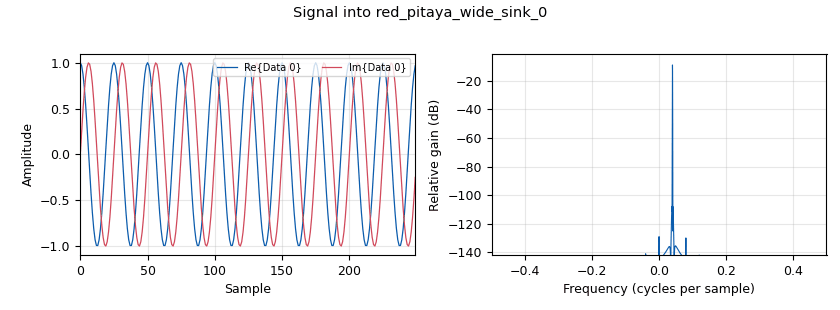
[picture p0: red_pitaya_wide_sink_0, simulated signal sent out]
<?xml version='1.0' encoding='utf-8'?>
<?grc format='1' created='3.7.11'?>
<flow_graph>
<block>
<key>options</key>
<param><key>id</key><value>top_block</value></param>
<param><key>generate_options</key><value>qt_gui</value></param>
</block>
<block>
<key>variable</key>
<param><key>id</key><value>fc</value></param>
<param><key>value</key><value>2e5</value></param>
</block>
<block>
<key>variable_qtgui_range</key>
<param><key>id</key><value>fm</value></param>
<param><key>value</key><value>1e4</value></param>
<param><key>orient</key><value>Qt.Horizontal</value></param>
<param><key>start</key><value>9e3</value></param>
<param><key>step</key><value>50</value></param>
<param><key>stop</key><value>1.1e4</value></param>
</block>
<block>
<key>variable</key>
<param><key>id</key><value>samp_rate</value></param>
<param><key>value</key><value>2.5e5</value></param>
</block>
<block>
<key>parameter</key>
<param><key>id</key><value>address0</value></param>
<param><key>label</key><value>IP Address, Dev 0</value></param>
<param><key>type</key><value>string</value></param>
<param><key>value</key><value>"192.168.88.18"</value></param>
</block>
<block>
<key>parameter</key>
<param><key>id</key><value>address1</value></param>
<param><key>label</key><value>IP Address, Dev 0</value></param>
<param><key>type</key><value>string</value></param>
<param><key>value</key><value>"192.168.88.17"</value></param>
</block>
<block>
<key>analog_sig_source_x</key>
<param><key>id</key><value>analog_sig_source_x_0</value></param>
<param><key>amp</key><value>1</value></param>
<param><key>freq</key><value>fm</value></param>
<param><key>offset</key><value>0</value></param>
<param><key>type</key><value>complex</value></param>
<param><key>samp_rate</key><value>samp_rate</value></param>
<param><key>waveform</key><value>analog.GR_COS_WAVE</value></param>
</block>
<block>
<key>blocks_throttle</key>
<param><key>id</key><value>blocks_throttle_0</value></param>
<param><key>samples_per_second</key><value>samp_rate</value></param>
<param><key>type</key><value>complex</value></param>
</block>
<block>
<key>blocks_throttle</key>
<param><key>id</key><value>blocks_throttle_0_0</value></param>
<param><key>samples_per_second</key><value>samp_rate</value></param>
<param><key>type</key><value>complex</value></param>
</block>
<block>
<key>qtgui_sink_x</key>
<param><key>id</key><value>qtgui_sink_x_0</value></param>
<param><key>bw</key><value>samp_rate</value></param>
<param><key>fc</key><value>0</value></param>
<param><key>freqchangevar</key><value>None</value></param>
<param><key>fftsize</key><value>1024</value></param>
<param><key>showports</key><value>True</value></param>
<param><key>type</key><value>complex</value></param>
<param><key>wintype</key><value>firdes.WIN_BLACKMAN_hARRIS</value></param>
</block>
<block>
<key>red_pitaya_wide_sink</key>
<param><key>id</key><value>red_pitaya_wide_sink_0</value></param>
<param><key>addr</key><value>str(address0)</value></param>
<param><key>freq</key><value>fc</value></param>
<param><key>corr</key><value>0</value></param>
<param><key>mask</key><value>1</value></param>
<param><key>ptt</key><value>True</value></param>
<param><key>port</key><value>1001</value></param>
<param><key>rate</key><value>int(samp_rate)</value></param>
</block>
<block>
<key>red_pitaya_wide_source</key>
<param><key>id</key><value>red_pitaya_wide_source_0</value></param>
<param><key>addr</key><value>str(address1)</value></param>
<param><key>freq</key><value>fc</value></param>
<param><key>corr</key><value>0</value></param>
<param><key>mask</key><value>1</value></param>
<param><key>port</key><value>1001</value></param>
<param><key>rate</key><value>int(samp_rate)</value></param>
</block>
<connection><source_block_id>analog_sig_source_x_0</source_block_id><sink_block_id>blocks_throttle_0</sink_block_id><source_key>0</source_key><sink_key>0</sink_key></connection>
<connection><source_block_id>blocks_throttle_0</source_block_id><sink_block_id>red_pitaya_wide_sink_0</sink_block_id><source_key>0</source_key><sink_key>0</sink_key></connection>
<connection><source_block_id>blocks_throttle_0_0</source_block_id><sink_block_id>qtgui_sink_x_0</sink_block_id><source_key>0</source_key><sink_key>0</sink_key></connection>
<connection><source_block_id>red_pitaya_wide_source_0</source_block_id><sink_block_id>blocks_throttle_0_0</sink_block_id><source_key>0</source_key><sink_key>0</sink_key></connection>
</flow_graph>
